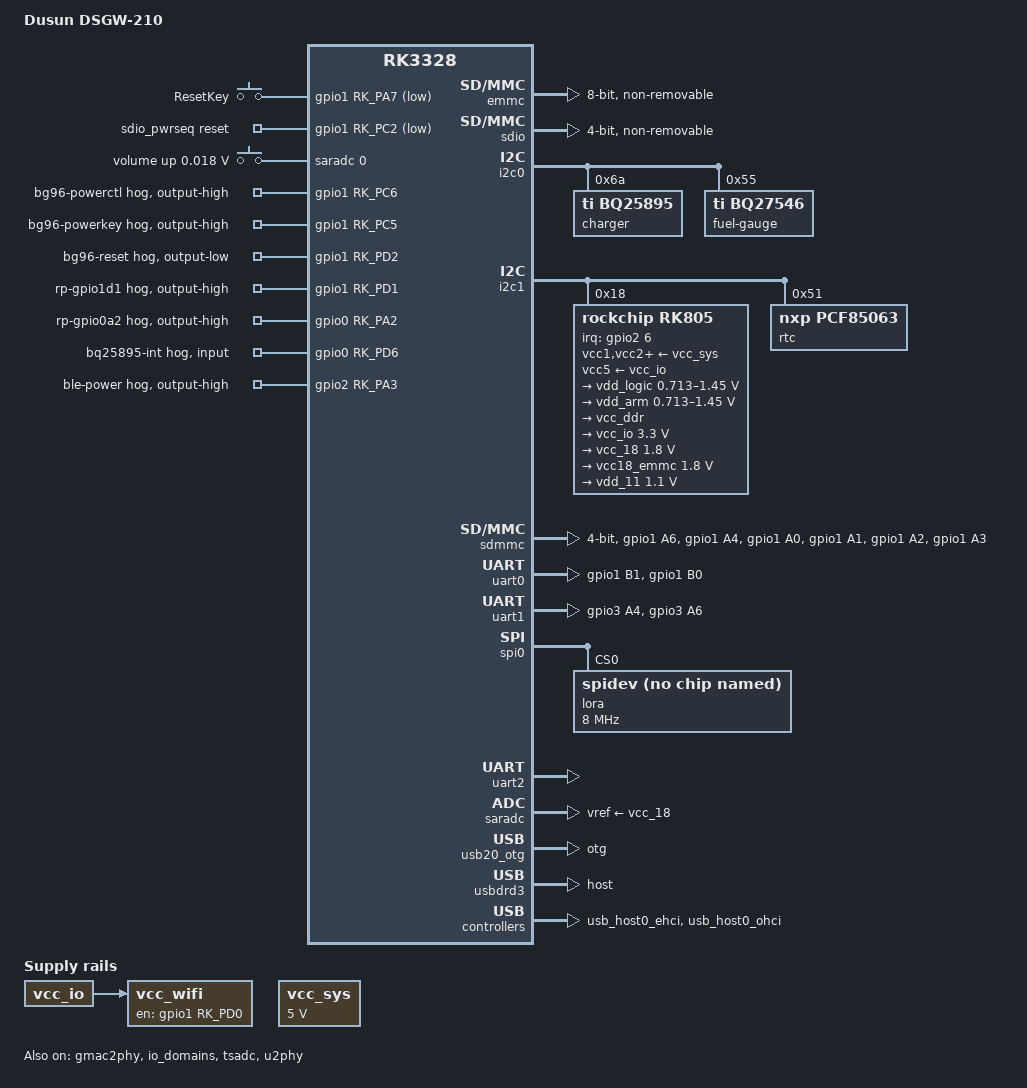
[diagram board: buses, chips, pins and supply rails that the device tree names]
// SPDX-License-Identifier: (GPL-2.0+ OR MIT)
/*
 * Dusun DSGW-210 IoT Edge Gateway
 *
 * Copyright (c) 2026 GreenAutarky
 *
 * Derived from rk3328-rock64.dts (Pine64 Rock64): same RK3328 SoC and RK805
 * PMIC. Differences from the Rock64:
 *   - Ethernet uses `gmac2phy` (internal RMII PHY @ ff550000), not `gmac2io`
 *     (external RGMII @ ff540000).
 *   - No HDMI / VOP / audio / IR nodes (headless device) and no SPI-NOR.
 *   - USB OTG stays in dr_mode="otg" so the USB-C port can serve as a CDC-ACM
 *     serial console gadget (see the ga-usb-gadget-serial systemd unit).
 *   - i2c0 is enabled for the TM1929 LED controller (driven from userspace).
 *   - Board-level settings follow the vendor's device tree unless a comment
 *     gives a reason. Deliberate deviations: watchdog on, 1.5 Mbaud ttyS2
 *     console, headless removals, SDIO power sequencing plus the GMAC-M1 GRF
 *     route fix, radio GPIO hogs. The thermal trips are the rk3328.dtsi
 *     defaults and are not overridden here.
 */

/dts-v1/;
#include <dt-bindings/input/input.h>
#include "rk3328.dtsi"

/ {
	model = "Dusun DSGW-210";
	compatible = "dusun,dsgw210", "rockchip,rk3328";

	aliases {
		ethernet0 = &gmac2phy;
		serial0 = &uart0;
		mmc0 = &sdmmc;
		mmc1 = &emmc;
		serial1 = &uart1;
		serial2 = &uart2;
	};

	chosen {
		stdout-path = "serial2:1500000n8";
	};

	/*
	 * pstore/ramoops: 1 MiB at 0x30000000, holding the previous boot's
	 * console and panic/oops records across a warm reset (watchdog,
	 * reboot). Chosen to be safe on a 1 GiB DSGW variant as well as on
	 * the 2 GiB board (it was 0x3ff00000 = the top MiB of a 1 GiB part,
	 * exactly where u-boot relocates itself on 1 GiB):
	 *  - BL31 (TF-A) lives at 0x40000 and u-boot keeps 0-2 MiB out of
	 *    the kernel's memory map for it; no OP-TEE in this build;
	 *  - u-boot 2026.04 fixed addresses (rk3328_common.h) all end below
	 *    0x0a000000: scriptaddr 0x00500000, pxefile_addr_r 0x00600000,
	 *    fdt_addr_r 0x01e00000, fdtoverlay_addr_r 0x01f00000,
	 *    kernel_addr_r 0x02080000 (+ image_size 0x2690000 = 0x04710000),
	 *    ramdisk_addr_r 0x06000000, kernel_comp_addr_r 0x08000000 +
	 *    kernel_comp_size 0x2000000 = 0x0a000000; SPL stack 0x03e00000;
	 *  - u-boot relocates itself (~0.7 MiB), its 32 MiB malloc and the
	 *    FDT copy to the top of RAM: ~0x3dd00000..0x40000000 on 1 GiB,
	 *    ~0x7dd00000..0x80000000 on 2 GiB; bootm's LMB allocations come
	 *    from just below that, top-down;
	 *  - the shipped DT has no other reserved-memory node.
	 * So nothing written by SPL/u-boot/the kernel image lands there.
	 * Layout: 512 KiB console ring, the other 512 KiB as 4 x 128 KiB
	 * dmesg (oops/panic) records; no ftrace/pmsg zones.
	 */
	reserved-memory {
		#address-cells = <2>;
		#size-cells = <2>;
		ranges;

		ramoops@30000000 {
			compatible = "ramoops";
			reg = <0x0 0x30000000 0x0 0x100000>;
			console-size = <0x80000>;
			record-size = <0x20000>;
			ftrace-size = <0x0>;
			pmsg-size = <0x0>;
			ecc-size = <16>;
		};
	};
	/* No external 125 MHz gmac_clkin — DSGW-210 uses internal RMII PHY,
	 * MAC2PHY clock is generated on-chip from cpll/gpll. */

	vcc_sys: regulator-vcc-sys {
		compatible = "regulator-fixed";
		regulator-name = "vcc_sys";
		regulator-always-on;
		regulator-boot-on;
		regulator-min-microvolt = <5000000>;
		regulator-max-microvolt = <5000000>;
	};

	/*
	 * Reset key as in the vendor DT: gpio-keys "ResetKey" on GPIO1_A7,
	 * active-low, linux,code = KEY_RIGHTALT, wakeup source.
	 */
	gpio-keys {
		compatible = "gpio-keys";

		button-reset {
			label = "ResetKey";
			gpios = <&gpio1 RK_PA7 GPIO_ACTIVE_LOW>;
			linux,code = <KEY_RIGHTALT>;
			wakeup-source;
		};
	};

	/*
	 * Status LEDs: the front RGB indicator is driven by a Titan Micro
	 * TM1929 LED controller at i2c0 address 0x23, not by GPIOs. There is no
	 * mainline kernel driver and no DT node for the chip; it is controlled
	 * from userspace over /dev/i2c-0 (see the dsgw210-led package). i2c0 is
	 * enabled below.
	 */
};

&cpu0 { cpu-supply = <&vdd_arm>; };
&cpu1 { cpu-supply = <&vdd_arm>; };
&cpu2 { cpu-supply = <&vdd_arm>; };
&cpu3 { cpu-supply = <&vdd_arm>; };

/*
 * CPU OPP voltages as in the vendor DT (cpu0-opp-table), L0 column. The BSP
 * picks per chip between L0 (higher) and L1 (= mainline values) from the efuse
 * leakage (rockchip,leakage-voltage-sel); mainline cannot select leakage
 * bins, so the conservative L0 set is used for every chip. <target min max>
 * as the vendor DT: max 1.35 V on all OPPs. Same six frequencies (408..1296
 * MHz), same opp-suspend (408 MHz).
 */
&cpu0_opp_table {
	opp-408000000 { opp-microvolt = <950000 950000 1350000>; };
	opp-600000000 { opp-microvolt = <950000 950000 1350000>; };
	opp-816000000 { opp-microvolt = <1050000 1050000 1350000>; };
	opp-1008000000 { opp-microvolt = <1150000 1150000 1350000>; };
	opp-1200000000 { opp-microvolt = <1275000 1275000 1350000>; };
	opp-1296000000 { opp-microvolt = <1350000 1350000 1350000>; };
};

/*
 * eMMC as in the vendor DT: 8-bit, disable-wp, non-removable, max-frequency
 * 150 MHz (= rk3328.dtsi default), no speed caps and no vmmc/vqmmc supplies,
 * so the card runs in legacy timing. Both rails are always-on RK805 outputs
 * (vcc_io 3.3 V, vcc18_emmc 1.8 V = vccio2). HS200 is deliberately not
 * enabled: it needs a soak/CRC test on this board first.
 */
&emmc {
	bus-width = <8>;
	disable-wp;
	non-removable;
	pinctrl-names = "default";
	pinctrl-0 = <&emmc_clk &emmc_cmd &emmc_bus8>;
	status = "okay";
};

/* The board uses the on-chip RMII MAC with its integrated PHY (gmac2phy @
 * ff550000). The external RGMII path (gmac2io @ ff540000) is unused. The
 * vendor DT has ethernet@ff550000 enabled with phy-mode "rmii",
 * phy-is-integrated and clock_in_out "output". */
&gmac2phy {
	phy-supply = <&vcc_io>;
	clock_in_out = "output";
	assigned-clocks = <&cru SCLK_MAC2PHY_SRC>;
	assigned-clock-rate = <50000000>;
	assigned-clock-parents = <&cru PLL_CPLL>;
	status = "okay";
};

/* gmac2io explicitly disabled — keeps any later overlay from re-enabling
 * by accident, and documents why we don't use it here. */
&gmac2io {
	status = "disabled";
};

/*
 * Integrated PHY: no LED pinmux, as in the vendor DT (the node has
 * pinctrl-names but no pinctrl-0). The mainline rk3328.dtsi puts the
 * fephyled_linkm1 (GPIO2_D0 func2) and fephyled_rxm1 (GPIO2_D1 func2) groups
 * on the PHY node; those are the same pads as i2c0_xfer (GPIO2_D0/D1 func1),
 * which is enabled for the TM1929 LED controller. Two owners for one pad:
 * whichever device binds second would fail its pinctrl claim.
 */
&phy {
	/delete-property/ pinctrl-names;
	/delete-property/ pinctrl-0;
};

/*
 * SDIO bus + RTL8821CS Wi-Fi/BT combo chip (SDIO host @ ff510000; the chip is
 * bound by the mainline rtw88_8821cs driver once the card enumerates).
 *
 * The vendor firmware uses the Rockchip BSP `wlan-platdata` driver, which
 * drives two GPIOs high before triggering an SDIO rescan (a Rockchip-only
 * kernel API):
 *   poweren = gpio1 PC2 (WLAN_REG_ON)
 *   vbat    = gpio1 PD0 (VBAT_EN, main power rail)
 *
 * Mainline has no such driver, so the equivalent sequence is built from
 * mainline bindings: WLAN_REG_ON is owned by an mmc-pwrseq-simple node
 * (asserted low at probe, released before bus init, 500 ms settle), the RK805
 * 32 kHz clock output feeds the chip's LPO input, and VBAT is an always-on
 * regulator.
 */
/ {
	/*
	 * VBAT_EN for the RTL8821CS — gpio1 RK_PD0 (= gpio56). Always-on
	 * regulator; mirrors the vendor behaviour where vbat is HIGH from boot.
	 */
	vcc_wifi: regulator-vcc-wifi {
		compatible = "regulator-fixed";
		regulator-name = "vcc_wifi";
		enable-active-high;
		gpio = <&gpio1 RK_PD0 GPIO_ACTIVE_HIGH>;
		pinctrl-names = "default";
		pinctrl-0 = <&wifi_vbat_h>;
		regulator-always-on;
		regulator-boot-on;
		vin-supply = <&vcc_io>;
	};

	/*
	 * WLAN_REG_ON (gpio1 PC2) is owned by the pwrseq node below. The chip
	 * must not be powered before the SDIO host has been set up: a chip that
	 * is powered but uninitialised holds DAT0 low and stalls the host
	 * controller's clock update. The bootloader therefore leaves the line
	 * low, and mmc-core drives it low->high in mmc_power_up before the first
	 * card command.
	 */
	sdio_pwrseq: sdio-pwrseq {
		compatible = "mmc-pwrseq-simple";
		clocks = <&rk805 1>;
		clock-names = "ext_clock";
		pinctrl-names = "default";
		pinctrl-0 = <&wifi_enable_h>;
		reset-gpios = <&gpio1 RK_PC2 GPIO_ACTIVE_LOW>;
		post-power-on-delay-ms = <500>;
		status = "okay";
	};

	/*
	 * Node for the out-of-tree ga-wlan-platdata module, which holds the
	 * 32 kHz LPO clock (`ext_clock`) enabled. WL_REG_ON is owned by the
	 * pwrseq node above, so the module does not claim that GPIO.
	 */
	wireless_wlan: wireless-wlan {
		compatible = "greenautarky,wlan-platdata";
		clocks = <&rk805 1>;
		clock-names = "ext_clock";
		mmc-host = <&sdio>;
		status = "okay";
	};
};

&pinctrl {
	sdio-pwrseq {
		wifi_enable_h: wifi-enable-h {
			rockchip,pins = <1 RK_PC2 RK_FUNC_GPIO &pcfg_pull_none_12ma>;
		};
		wifi_vbat_h: wifi-vbat-h {
			rockchip,pins = <1 RK_PD0 RK_FUNC_GPIO &pcfg_pull_none_12ma>;
		};
	};
};

/*
 * SDIO bus for the RTL8821CS Wi-Fi. Matches the vendor DT with one addition,
 * `rockchip,clear-gmac-m1-routes`, the opt-in for the dw_mmc-rockchip patch
 * that clears stale GMAC-M1 route bits in the GRF (see patches/linux/0005).
 */
&sdio {
	bus-width = <4>;
	cap-sd-highspeed;
	cap-sdio-irq;
	disable-wp;
	keep-power-in-suspend;
	max-frequency = <50000000>;
	mmc-pwrseq = <&sdio_pwrseq>;
	non-removable;
	num-slots = <1>;
	pinctrl-names = "default";
	pinctrl-0 = <&sdmmc1_bus4 &sdmmc1_cmd &sdmmc1_clk>;
	supports-sdio;

	/* Keep clk_sdio's parent at 100 MHz (vendor value); the controller's
	 * clock divider derives the card-side bus rate from it. */
	assigned-clocks = <&cru SCLK_SDIO>;
	assigned-clock-rates = <100000000>;

	/* Clear the GMAC-M1 route override bits in GRF_SOC_CON34 at probe time,
	 * so the SDIO IOMUX controls PB6/PB3 instead of the GMAC-M1 path
	 * driving them. Handled by the dw_mmc-rockchip patch, see
	 * patches/linux/0005-...
	 */
	rockchip,grf = <&grf>;
	rockchip,clear-gmac-m1-routes;

	status = "okay";
};

/*
 * i2c0 -- peripheral bus:
 *   0x23  TM1929 RGB-LED controller (userspace-driven, no DT node)
 *   0x55  bq27546 battery fuel gauge
 *   0x6A  bq25895 battery charger
 * Charger and gauge nodes follow the vendor DT with the same ti,* values.
 * Binding-level translation only:
 *   - compatible: "ti,bq25890" -> mainline "ti,bq25895", "ti,bq25890"
 *     (the driver reads the chip ID anyway)
 *   - IRQ: the vendor INT line (bq25890_irq-gpios = GPIO0_D6, active-low) is
 *     not used; the node polls (ti,poll-interval-ms, kernel patch 0007), see
 *     the comment in the node.
 * The charger and gauge are populated only on units fitted with a battery.
 * Pinmux (i2c0_xfer) is inherited from rk3328.dtsi.
 */
&i2c0 {
	status = "okay";

	charger@6a {
		compatible = "ti,bq25895", "ti,bq25890";
		reg = <0x6a>;
		/*
		 * GPIO0_D6 defaults to sdmmc0m1_pwren (func 3); it is muxed as a
		 * GPIO input here (see the charger-int hog below).
		 */
		pinctrl-names = "default";
		pinctrl-0 = <&charger_int>;
		ti,battery-regulation-voltage = <4256000>;
		ti,charge-current = <1088000>;
		ti,termination-current = <128000>;
		ti,precharge-current = <128000>;
		ti,minimum-sys-voltage = <3000000>;
		ti,boost-voltage = <5126000>;
		ti,boost-max-current = <1400000>;
		ti,use-ilim-pin;
		ti,thermal-regulation-threshold = <100>;
		/*
		 * Poll the chip instead of using the INT line (kernel patches 0006
		 * + 0007): the event rate is bounded by the poll interval however
		 * often the charge state changes. The node therefore has no
		 * interrupts property.
		 */
		ti,poll-interval-ms = <1000>;
	};

	fuel-gauge@55 {
		compatible = "ti,bq27546";
		reg = <0x55>;
	};
};

&i2c1 {
	status = "okay";

	rk805: pmic@18 {
		compatible = "rockchip,rk805";
		reg = <0x18>;
		interrupt-parent = <&gpio2>;
		interrupts = <6 IRQ_TYPE_LEVEL_LOW>;
		#clock-cells = <1>;
		clock-output-names = "xin32k", "rk805-clkout2";
		gpio-controller;
		#gpio-cells = <2>;
		pinctrl-names = "default";
		pinctrl-0 = <&pmic_int_l>;
		system-power-controller;
		wakeup-source;

		vcc1-supply = <&vcc_sys>;
		vcc2-supply = <&vcc_sys>;
		vcc3-supply = <&vcc_sys>;
		vcc4-supply = <&vcc_sys>;
		vcc5-supply = <&vcc_io>;
		vcc6-supply = <&vcc_sys>;

		regulators {
			vdd_logic: DCDC_REG1 {
				regulator-name = "vdd_logic";
				regulator-min-microvolt = <712500>;
				regulator-max-microvolt = <1450000>;
				regulator-ramp-delay = <12500>;
				regulator-always-on;
				regulator-boot-on;
				regulator-state-mem {
					regulator-on-in-suspend;
					regulator-suspend-microvolt = <1000000>;
				};
			};

			vdd_arm: DCDC_REG2 {
				regulator-name = "vdd_arm";
				regulator-min-microvolt = <712500>;
				regulator-max-microvolt = <1450000>;
				regulator-ramp-delay = <12500>;
				regulator-always-on;
				regulator-boot-on;
				regulator-state-mem {
					regulator-on-in-suspend;
					regulator-suspend-microvolt = <950000>;
				};
			};

			vcc_ddr: DCDC_REG3 {
				regulator-name = "vcc_ddr";
				regulator-always-on;
				regulator-boot-on;
				regulator-state-mem {
					regulator-on-in-suspend;
				};
			};

			vcc_io: DCDC_REG4 {
				regulator-name = "vcc_io";
				regulator-min-microvolt = <3300000>;
				regulator-max-microvolt = <3300000>;
				regulator-always-on;
				regulator-boot-on;
				regulator-state-mem {
					regulator-on-in-suspend;
					regulator-suspend-microvolt = <3300000>;
				};
			};

			/* regulator-name as Dusun (RK805_LDO1 "vdd_18") */
			vcc_18: LDO_REG1 {
				regulator-name = "vdd_18";
				regulator-min-microvolt = <1800000>;
				regulator-max-microvolt = <1800000>;
				regulator-always-on;
				regulator-boot-on;
				regulator-state-mem {
					regulator-on-in-suspend;
					regulator-suspend-microvolt = <1800000>;
				};
			};

			/* regulator-name as Dusun (RK805_LDO2 "vcc_18emmc") */
			vcc18_emmc: LDO_REG2 {
				regulator-name = "vcc_18emmc";
				regulator-min-microvolt = <1800000>;
				regulator-max-microvolt = <1800000>;
				regulator-always-on;
				regulator-boot-on;
				regulator-state-mem {
					regulator-on-in-suspend;
					regulator-suspend-microvolt = <1800000>;
				};
			};

			/*
			 * 1.1 V as in the vendor DT (RK805_LDO3 "vdd_11", suspend
			 * 1100000 uV).
			 */
			vdd_11: LDO_REG3 {
				regulator-name = "vdd_11";
				regulator-min-microvolt = <1100000>;
				regulator-max-microvolt = <1100000>;
				regulator-always-on;
				regulator-boot-on;
				regulator-state-mem {
					regulator-on-in-suspend;
					regulator-suspend-microvolt = <1100000>;
				};
			};
		};
	};

	/*
	 * Board RTC as in the vendor DT (rtc@51, "nxp,pcf85063"), registered
	 * as rtc0 and used to set the system clock. The vendor DT disables the
	 * RK805 RTC; mainline has no DT switch for that MFD cell, so the board
	 * kernel config fragment turns CONFIG_RTC_DRV_RK808 off and builds
	 * PCF85063 in.
	 */
	rtc@51 {
		compatible = "nxp,pcf85063";
		reg = <0x51>;
	};
};

&io_domains {
	status = "okay";
	vccio1-supply = <&vcc_io>;
	vccio2-supply = <&vcc18_emmc>;
	vccio3-supply = <&vcc_io>;
	vccio4-supply = <&vcc_18>;
	vccio5-supply = <&vcc_io>;
	vccio6-supply = <&vcc_io>;
	pmuio-supply = <&vcc_io>;
};

&pinctrl {
	pmic {
		pmic_int_l: pmic-int-l {
			rockchip,pins = <2 RK_PA6 RK_FUNC_GPIO &pcfg_pull_up>;
		};
	};

};

/*
 * Radio control lines held by gpio-hogs at boot:
 *   gpio1 PC5 (gpio53) LTE BG96 powerkey  HIGH
 *   gpio1 PC6 (gpio54) LTE BG96 powerctl  HIGH
 *   gpio1 PD2 (gpio58) LTE BG96 reset     LOW (= run)
 *   gpio1 PD1 (gpio57) rp_gpio/gpio1d1    HIGH (as the vendor rp_gpio)
 *   gpio2 PA3 (gpio67) radio power        HIGH
 * The vendor firmware drives these from userspace (bg96_powerup.sh,
 * export_zigbee_zwave_ble_gpio.sh) and, for PD1, from rp_gpio. The hogs keep
 * the radios powered without a userspace owner. A hogged line cannot be
 * requested, so a userspace tool cannot pulse PWRKEY while the hog holds it;
 * replacing the hogs by a userspace owner is a possible follow-up.
 *
 * Pad configuration is the SoC default, as in the vendor DT. A stronger
 * 12 mA override is not needed once the GMAC-M1 route override is cleared
 * (patches/linux/0005).
 */
&gpio1 {

	bg96-powerctl-hog {
		gpio-hog;
		gpios = <RK_PC6 GPIO_ACTIVE_HIGH>;
		output-high;
		line-name = "bg96-powerctl";
	};
	bg96-powerkey-hog {
		gpio-hog;
		gpios = <RK_PC5 GPIO_ACTIVE_HIGH>;
		output-high;
		line-name = "bg96-powerkey";
	};
	bg96-reset-hog {
		gpio-hog;
		gpios = <RK_PD2 GPIO_ACTIVE_HIGH>;
		output-low;
		line-name = "bg96-reset";
	};
	rp-gpio-pd1-hog {
		gpio-hog;
		gpios = <RK_PD1 GPIO_ACTIVE_HIGH>;
		output-high;
		line-name = "rp-gpio1d1";
	};
	/*
	 * No hog on RK_PC2: mmc-pwrseq-simple owns WL_REG_ON via reset-gpios,
	 * and a hog would claim the line before the pwrseq probe.
	 */
};

/*
 * GPIO0_A2 driven HIGH at boot, as the vendor firmware does (rp_gpio node,
 * gpio0a2 as an output with value 1). A gpio-hog is the mainline equivalent
 * of that held output. On another board revision this pin is labelled
 * "usb30drv" (USB3 VBUS drive, default on).
 */
&gpio0 {
	rp-gpio-pa2-hog {
		gpio-hog;
		gpios = <RK_PA2 GPIO_ACTIVE_HIGH>;
		output-high;
		line-name = "rp-gpio0a2";
	};
};

&gpio2 {

	ble-power-hog {
		gpio-hog;
		gpios = <RK_PA3 GPIO_ACTIVE_HIGH>;
		output-high;
		line-name = "ble-power";
	};
};

&sdmmc {
	bus-width = <4>;
	cap-mmc-highspeed;
	cap-sd-highspeed;
	disable-wp;
	max-frequency = <150000000>;
	pinctrl-names = "default";
	/*
	 * Pad drive 4 mA on all SD pins, as in the vendor DT (sdmmc0-clk
	 * pull-none-4ma, sdmmc0-cmd/-bus4/-dectn pull-up-4ma). The mainline
	 * groups use 8 mA on clk/cmd/bus4.
	 */
	pinctrl-0 = <&sdmmc0_clk_dusun &sdmmc0_cmd_dusun &sdmmc0_dectn &sdmmc0_bus4_dusun>;
	/*
	 * No vmmc-supply, as in the vendor DT. GPIO0_D6, which switches the
	 * SD-card supply on a Rock64, is the bq25895 charger interrupt input on
	 * this board.
	 */
	status = "okay";
};

&pinctrl {
	charger {
		charger_int: charger-int {
			rockchip,pins = <0 RK_PD6 RK_FUNC_GPIO &pcfg_pull_up>;
		};
	};
};

&pinctrl {
	sdmmc0 {
		sdmmc0_clk_dusun: sdmmc0-clk-dusun {
			rockchip,pins = <1 RK_PA6 1 &pcfg_pull_none_4ma>;
		};
		sdmmc0_cmd_dusun: sdmmc0-cmd-dusun {
			rockchip,pins = <1 RK_PA4 1 &pcfg_pull_up_4ma>;
		};
		sdmmc0_bus4_dusun: sdmmc0-bus4-dusun {
			rockchip,pins = <1 RK_PA0 1 &pcfg_pull_up_4ma>,
					<1 RK_PA1 1 &pcfg_pull_up_4ma>,
					<1 RK_PA2 1 &pcfg_pull_up_4ma>,
					<1 RK_PA3 1 &pcfg_pull_up_4ma>;
		};
	};
};

/*
 * UART0 (GPIO1_B1 TX / GPIO1_B0 RX) enabled, TX/RX only (no CTS/RTS), alias
 * serial0, as in the vendor DT. Pulls as in the vendor uart0-xfer: TX (PB1)
 * pull-up, RX (PB0) pull-none; the mainline group has them the other way
 * round.
 */
&pinctrl {
	uart0 {
		uart0_xfer_dusun: uart0-xfer-dusun {
			rockchip,pins = <1 RK_PB1 1 &pcfg_pull_up>,
					<1 RK_PB0 1 &pcfg_pull_none>;
		};
	};
};

&uart0 {
	pinctrl-names = "default";
	pinctrl-0 = <&uart0_xfer_dusun>;
	status = "okay";
};

/* UART1 = Z-Wave ZGM130S (SerialAPI @ 115200 8N1).
 *
 * Override mainline default which claims all 4 wires (TX+RX+CTS+RTS,
 * PA4+PA5+PA6+PA7); DSGW-210 only has TX+RX wired. PA5/PA7 may be
 * used for other functions on the PCB.
 *
 * Plus force SCLK_UART1 to 24 MHz from xin24m. Without this, the
 * RK3328 cru leaves SCLK_UART1 stuck at clk_uart1_frac default of
 * 153600 Hz (UART2 only works because the kernel-console code calls
 * clk_set_rate when ttyS2 is registered). UART1 has no such
 * auto-init — needs explicit assigned-clocks/rates here.
 */
/*
 * Pulls as in the vendor uart1-xfer: GPIO3_A4 pull-up, GPIO3_A6 pull-none.
 * The mainline group has them the other way round.
 */
&pinctrl {
	uart1 {
		uart1_xfer_dusun: uart1-xfer-dusun {
			rockchip,pins = <3 RK_PA4 4 &pcfg_pull_up>,
					<3 RK_PA6 4 &pcfg_pull_none>;
		};
	};
};

&uart1 {
	pinctrl-names = "default";
	pinctrl-0 = <&uart1_xfer_dusun>;
	assigned-clocks = <&cru SCLK_UART1>;
	assigned-clock-rates = <24000000>;
	status = "okay";
};

/*
 * SPI0 = LoRaWAN concentrator (Semtech SX1302) on an mPCIe slot wired as SPI.
 *
 * Pin mux = spi0m2 (gpio3 PA0=clk PA1=tx PA2=rx PB0=cs0), as in the vendor
 * DT. That is also the rk3328.dtsi default; it is spelled out here so the
 * choice is explicit.
 *
 * Userspace LoRa daemons (basicstation/packet_forwarder) talk to
 * /dev/spidev0.0, exposed via a generic spidev binding.
 */
&spi0 {
	pinctrl-names = "default";
	pinctrl-0 = <&spi0m2_clk &spi0m2_tx &spi0m2_rx &spi0m2_cs0>;
	max-frequency = <24000000>;
	status = "okay";

	/* SX1302 LoRa concentrator — using rohm,dh2228fv as a generic
	 * spidev-compatible probe; the LoRa userspace tooling opens
	 * /dev/spidev0.0 directly and speaks the SX1302 protocol. */
	lora@0 {
		compatible = "rohm,dh2228fv";
		reg = <0>;
		spi-max-frequency = <8000000>;
	};
};

/* UART2 = debug / kernel console (Rockchip m1 pinmux, 0xff130000).
 * Mainline default pinctrl: a custom pull-config override broke stty access
 * on ttyS2.
 */
&uart2 {
	status = "okay";
};

/*
 * bq25895 INT (GPIO0_D6) as an input hog. The bootloader builds on the
 * rock64 DT, which drives GPIO0_D6 as the vcc_sd switch, so the line can
 * arrive as an OUTPUT. The pin mux alone does not change the direction; the
 * hog makes it a plain input, so the pin is never driven against the
 * charger's open-drain INT output.
 */
&gpio0 {
	charger-int-hog {
		gpio-hog;
		gpios = <RK_PD6 GPIO_ACTIVE_HIGH>;
		input;
		line-name = "bq25895-int";
	};
};

/*
 * SARADC + adc-keys as in the vendor DT (saradc@ff280000, vref = RK805 LDO1
 * "vdd_18"; adc-keys on channel 0, pressed < 18 mV, released at 1.8 V,
 * linux,code 0x73). Kept because the reset/recovery button may sit on this
 * ADC; with the node enabled the raw values are readable in /sys/bus/iio and
 * a press shows up as an input event.
 */
&saradc {
	vref-supply = <&vcc_18>;
	status = "okay";
};

/ {
	adc-keys {
		compatible = "adc-keys";
		io-channels = <&saradc 0>;
		io-channel-names = "buttons";
		poll-interval = <100>;
		keyup-threshold-microvolt = <1800000>;

		vol-up-key {
			linux,code = <KEY_VOLUMEUP>;
			label = "volume up";
			press-threshold-microvolt = <18000>;
		};
	};
};

&tsadc {
	rockchip,hw-tshut-mode = <0>;
	rockchip,hw-tshut-polarity = <0>;
	status = "okay";
};

&u2phy {
	status = "okay";
	u2phy_host: host-port { status = "okay"; };
	u2phy_otg:  otg-port  { status = "okay"; };
};

/*
 * USB OTG (USB-C connector). Kept in "otg" mode so the port can
 * arbitrate host vs. peripheral at runtime. Our rootfs configures a
 * CDC-ACM gadget for the Linux serial console when attached as a
 * peripheral.
 */
&usb20_otg {
	dr_mode = "otg";
	status = "okay";
};

/* USB3 and legacy EHCI/OHCI stay host-mode for peripherals / radios. */
&usbdrd3 {
	dr_mode = "host";
	status = "okay";
};

&usb_host0_ehci { status = "okay"; };
&usb_host0_ohci { status = "okay"; };
